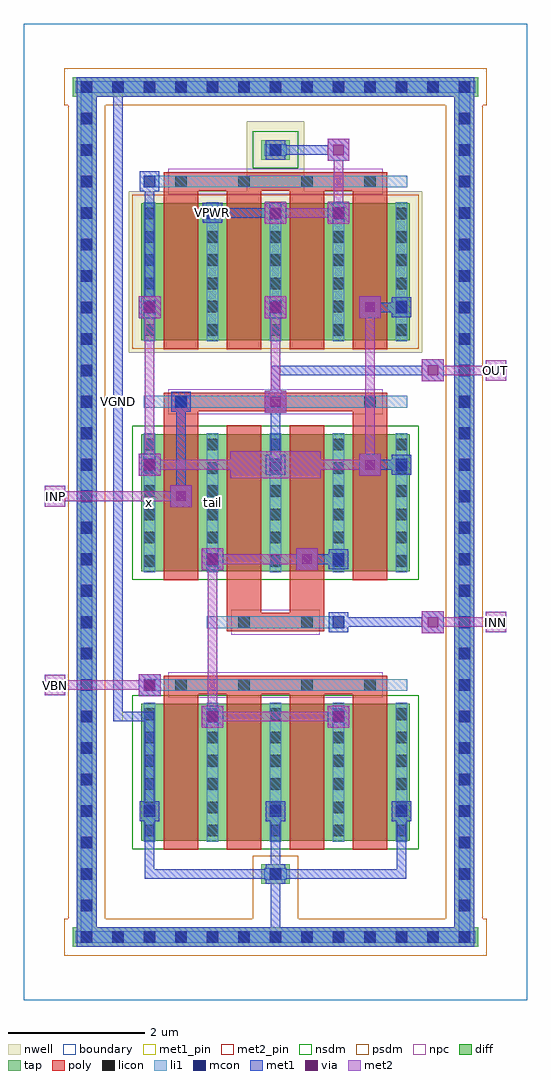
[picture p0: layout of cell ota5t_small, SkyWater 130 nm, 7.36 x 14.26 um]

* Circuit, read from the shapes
.subckt ota5t_small INN INP OUT VBN VGND VPWR tail x
XM1 tail VBN VGND VGND sky130_fd_pr__nfet_01v8 w=2 l=0.5 m=4
XM2 tail INP x VGND sky130_fd_pr__nfet_01v8 w=2 l=0.5 m=2
XM3 OUT INN tail VGND sky130_fd_pr__nfet_01v8 w=2 l=0.5 m=2
XM4 VPWR x x VPWR sky130_fd_pr__pfet_01v8 w=2 l=0.5 m=2
XM5 OUT x VPWR VPWR sky130_fd_pr__pfet_01v8 w=2 l=0.5 m=2
.ends

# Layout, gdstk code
import gdstk
lib = gdstk.Library(unit=1e-6, precision=1e-09)
def R(c, l, rs):  # rectangles x0, y0, x1, y1
    for r in rs: c.add(gdstk.rectangle(r[:2], r[2:], *l))
def A(c, l, x, y, w, h, nx, ny, dx, dy):  # array of equal rectangles
    R(c, l, [(x+i*dx, y+j*dy, x+i*dx+w, y+j*dy+h) for i in range(nx) for j in range(ny)])
nwell = (64, 20)
diff = (65, 20)
tap = (65, 44)
poly = (66, 20)
licon = (66, 44)
li1 = (67, 20)
mcon = (67, 44)
met1_pin = (68, 16)
met1 = (68, 20)
via = (68, 44)
met2_pin = (69, 16)
met2 = (69, 20)
nsdm = (93, 44)
psdm = (94, 20)
npc = (95, 20)
boundary = (235, 4)

ota5t_small = lib.new_cell('ota5t_small')
R(ota5t_small, nwell, [(1.535,9.46,5.825,11.82), (3.26,11.82,4.1,12.84)])
R(ota5t_small, diff, [(1.715,2.325,5.645,4.325), (1.715,6.265,5.645,8.265), (1.715,9.64,5.645,11.64)])
R(ota5t_small, tap, [(0.715,0.775,6.645,1.065), (0.775,0.775,1.065,13.485), (6.295,0.775,6.585,13.485), (3.475,1.695,3.885,1.985), (3.475,12.275,3.885,12.565), (0.715,13.195,6.645,13.485)])
A(ota5t_small, poly, 2.05, 2.195, 0.5, 2.405, 4, 1, 0.92, 0)
A(ota5t_small, poly, 2.05, 9.51, 0.5, 2.45, 4, 1, 0.92, 0)
R(ota5t_small, poly, [(2.05,4.465,5.31,4.735), (2.97,5.385,4.39,5.655), (2.97,5.52,3.47,8.395), (3.89,5.52,4.39,8.395), (2.05,6.135,2.55,8.74), (4.81,6.135,5.31,8.74), (2.05,8.605,5.31,8.875), (2.05,11.825,5.31,12.095)])
A(ota5t_small, licon, 0.835, 0.835, 0.17, 0.17, 13, 2, 0.46, 12.42)
A(ota5t_small, licon, 0.835, 1.755, 0.17, 0.17, 3, 2, 2.76, 10.58)
A(ota5t_small, licon, 0.835, 2.215, 0.17, 0.17, 1, 22, 0, 0.46)
A(ota5t_small, licon, 6.355, 2.215, 0.17, 0.17, 1, 22, 0, 0.46)
A(ota5t_small, licon, 1.755, 2.39, 0.17, 0.17, 5, 6, 0.92, 0.34)
A(ota5t_small, licon, 2.215, 4.515, 0.17, 0.17, 4, 2, 0.92, 7.36)
A(ota5t_small, licon, 1.755, 6.33, 0.17, 0.17, 5, 6, 0.92, 0.34)
A(ota5t_small, licon, 1.755, 9.705, 0.17, 0.17, 5, 6, 0.92, 0.34)
R(ota5t_small, licon, [(0.835,1.295,1.005,1.465), (6.355,1.295,6.525,1.465), (3.135,5.435,3.305,5.605), (4.055,5.435,4.225,5.605), (2.215,8.655,2.385,8.825), (4.975,8.655,5.145,8.825), (0.835,12.795,1.005,12.965), (6.355,12.795,6.525,12.965)])
A(ota5t_small, li1, 1.755, 2.31, 0.17, 2.03, 5, 2, 0.92, 3.94)
A(ota5t_small, li1, 1.755, 9.625, 0.17, 2.03, 5, 1, 0.92, 0)
R(ota5t_small, li1, [(0.755,0.835,6.605,1.005), (0.835,0.835,1.005,13.425), (6.355,0.835,6.525,13.425), (3.515,1.755,3.845,1.925), (1.755,4.515,5.605,4.685), (2.675,5.435,4.685,5.605), (1.755,8.655,5.605,8.825), (1.755,11.875,5.605,12.045), (3.515,12.335,3.845,12.505), (0.755,13.255,6.605,13.425)])
A(ota5t_small, mcon, 0.835, 0.835, 0.17, 0.17, 13, 2, 0.46, 12.42)
A(ota5t_small, mcon, 0.835, 1.755, 0.17, 0.17, 3, 2, 2.76, 10.58)
A(ota5t_small, mcon, 0.835, 2.215, 0.17, 0.17, 1, 4, 0, 0.46)
A(ota5t_small, mcon, 6.355, 2.215, 0.17, 0.17, 1, 4, 0, 0.46)
A(ota5t_small, mcon, 1.755, 2.675, 0.17, 0.17, 3, 2, 1.84, 5.06)
A(ota5t_small, mcon, 0.835, 4.055, 0.17, 0.17, 4, 2, 1.84, 2.3)
A(ota5t_small, mcon, 0.835, 4.515, 0.17, 0.17, 1, 4, 0, 0.46)
A(ota5t_small, mcon, 6.355, 4.515, 0.17, 0.17, 1, 4, 0, 0.46)
A(ota5t_small, mcon, 0.835, 6.815, 0.17, 0.17, 1, 10, 0, 0.46)
A(ota5t_small, mcon, 6.355, 6.815, 0.17, 0.17, 1, 10, 0, 0.46)
A(ota5t_small, mcon, 1.755, 10.035, 0.17, 0.17, 3, 1, 1.84, 0)
A(ota5t_small, mcon, 0.835, 11.415, 0.17, 0.17, 4, 1, 1.84, 0)
R(ota5t_small, mcon, [(0.835,1.295,1.005,1.465), (6.355,1.295,6.525,1.465), (1.755,4.515,1.925,4.685), (4.515,5.435,4.685,5.605), (2.215,8.655,2.385,8.825), (0.835,11.875,1.005,12.045), (1.755,11.875,1.925,12.045), (6.355,11.875,6.525,12.045), (0.835,12.795,1.005,12.965), (6.355,12.795,6.525,12.965)])
R(ota5t_small, met1_pin, [(1.31,4.07,1.45,13.41), (2.615,11.355,2.905,11.645)])
A(ota5t_small, met1, 1.77, 1.77, 0.14, 1.06, 3, 1, 1.84, 0)
A(ota5t_small, met1, 1.695, 2.615, 0.29, 0.29, 3, 2, 1.84, 5.06)
A(ota5t_small, met1, 3.52, 8.58, 0.32, 0.32, 1, 3, 0, 1.38)
A(ota5t_small, met1, 1.695, 9.975, 0.29, 0.29, 3, 1, 1.84, 0)
R(ota5t_small, met1, [(0.775,0.775,6.585,1.065), (0.775,0.775,1.065,13.485), (6.295,0.775,6.585,13.485), (3.61,0.85,3.75,0.99), (3.61,0.85,3.75,1.91), (3.535,1.695,3.825,1.985), (1.77,1.77,3.75,1.91), (3.61,1.77,3.75,1.91), (3.61,1.77,5.59,1.91), (1.77,2.69,1.91,4.21), (2.6,3.98,2.92,4.3), (4.44,3.98,4.76,4.3), (2.615,3.995,2.905,4.285), (4.455,3.995,4.745,4.285), (1.31,4.07,1.91,4.21), (1.31,4.07,1.45,13.41), (1.68,4.44,2,4.76), (1.695,4.455,1.985,4.745), (5.82,5.36,6.14,5.68), (4.455,5.375,4.745,5.665), (4.53,5.45,6.05,5.59), (2.6,6.28,2.92,6.6), (3.98,6.28,4.3,6.6), (2.615,6.295,2.905,6.585), (4.455,6.295,4.745,6.585), (4.07,6.37,4.67,6.51), (2.14,7.2,2.46,7.52), (2.23,7.29,2.37,8.81), (1.68,7.66,2,7.98), (4.9,7.66,5.22,7.98), (3.61,7.75,3.75,8.81), (4.99,7.75,5.59,7.89), (2.155,8.595,2.445,8.885), (3.61,8.67,3.75,9.27), (5.82,9.04,6.14,9.36), (3.61,9.13,6.05,9.27), (1.68,9.96,2,10.28), (4.9,9.96,5.22,10.28), (1.77,10.05,1.91,12.03), (4.99,10.05,5.59,10.19), (4.44,11.34,4.76,11.66), (2.615,11.355,2.905,11.645), (4.455,11.355,4.745,11.645), (2.69,11.43,3.75,11.57), (1.695,11.815,1.985,12.105), (4.44,12.26,4.76,12.58), (3.535,12.275,3.825,12.565), (3.61,12.35,3.75,12.49), (3.61,12.35,4.67,12.49), (0.775,13.195,6.585,13.485), (1.31,13.27,1.45,13.41)])
A(ota5t_small, via, 3.605, 8.665, 0.15, 0.15, 1, 3, 0, 1.38)
R(ota5t_small, via, [(2.685,4.065,2.835,4.215), (4.525,4.065,4.675,4.215), (1.765,4.525,1.915,4.675), (5.905,5.445,6.055,5.595), (2.685,6.365,2.835,6.515), (4.065,6.365,4.215,6.515), (2.225,7.285,2.375,7.435), (1.765,7.745,1.915,7.895), (4.985,7.745,5.135,7.895), (5.905,9.125,6.055,9.275), (1.765,10.045,1.915,10.195), (4.985,10.045,5.135,10.195), (4.525,11.425,4.675,11.575), (4.525,12.345,4.675,12.495)])
R(ota5t_small, met2_pin, [(0.31,4.45,0.61,4.75), (6.75,5.37,7.05,5.67), (0.31,7.21,0.61,7.51), (6.75,9.05,7.05,9.35)])
A(ota5t_small, met2, 3.52, 8.58, 0.32, 0.32, 1, 3, 0, 1.38)
R(ota5t_small, met2, [(2.6,3.98,2.92,4.3), (4.44,3.98,4.76,4.3), (2.69,4.07,2.83,6.51), (2.69,4.07,4.67,4.21), (1.68,4.44,2,4.76), (0.31,4.45,0.61,4.75), (0.39,4.53,1.91,4.67), (0.39,4.53,0.53,4.67), (5.82,5.36,6.14,5.68), (6.75,5.37,7.05,5.67), (5.91,5.45,6.97,5.59), (6.83,5.45,6.97,5.59), (2.6,6.28,2.92,6.6), (3.98,6.28,4.3,6.6), (2.69,6.37,4.21,6.51), (2.14,7.2,2.46,7.52), (0.31,7.21,0.61,7.51), (0.39,7.29,2.37,7.43), (0.39,7.29,0.53,7.43), (3.02,7.62,4.34,8.02), (1.68,7.66,2,7.98), (4.9,7.66,5.22,7.98), (1.77,7.75,1.91,10.19), (1.77,7.75,3.29,7.89), (4.07,7.75,5.13,7.89), (4.99,7.75,5.13,10.19), (3.61,8.67,3.75,10.19), (5.82,9.04,6.14,9.36), (6.75,9.05,7.05,9.35), (5.91,9.13,6.97,9.27), (6.83,9.13,6.97,9.27), (1.68,9.96,2,10.28), (4.9,9.96,5.22,10.28), (4.44,11.34,4.76,11.66), (3.61,11.43,4.67,11.57), (4.53,11.43,4.67,12.49), (4.44,12.26,4.76,12.58)])
R(ota5t_small, nsdm, [(1.59,2.2,5.77,4.45), (1.59,6.14,5.77,8.39), (3.35,12.15,4.01,12.69)])
R(ota5t_small, psdm, [(0.59,0.65,6.77,1.19), (0.65,1.19,1.19,13.07), (3.35,1.19,4.01,2.11), (6.17,1.19,6.71,13.07), (1.59,9.515,5.77,11.765), (0.59,13.07,6.77,13.61)])
R(ota5t_small, npc, [(2.115,4.415,5.245,4.785), (3.035,5.335,4.325,5.705), (2.115,8.555,5.245,8.925), (2.115,11.775,5.245,12.145)])
R(ota5t_small, boundary, [(0,0,7.36,14.26)])
ota5t_small.add(gdstk.Label('x', (1.84,7.265), layer=67, texttype=5))
ota5t_small.add(gdstk.Label('tail', (2.76,7.265), layer=67, texttype=5))
ota5t_small.add(gdstk.Label('VPWR', (2.76,11.5), layer=68, texttype=5))
ota5t_small.add(gdstk.Label('VGND', (1.38,8.74), layer=68, texttype=5))
ota5t_small.add(gdstk.Label('INP', (0.46,7.36), layer=69, texttype=5))
ota5t_small.add(gdstk.Label('INN', (6.9,5.52), layer=69, texttype=5))
ota5t_small.add(gdstk.Label('VBN', (0.46,4.6), layer=69, texttype=5))
ota5t_small.add(gdstk.Label('OUT', (6.9,9.2), layer=69, texttype=5))
ota5t_small.add(gdstk.Label('VPWR', (2.76,11.5), layer=68, texttype=16))
ota5t_small.add(gdstk.Label('VGND', (1.38,8.74), layer=68, texttype=16))
ota5t_small.add(gdstk.Label('INP', (0.46,7.36), layer=69, texttype=16))
ota5t_small.add(gdstk.Label('INN', (6.9,5.52), layer=69, texttype=16))
ota5t_small.add(gdstk.Label('VBN', (0.46,4.6), layer=69, texttype=16))
ota5t_small.add(gdstk.Label('OUT', (6.9,9.2), layer=69, texttype=16))

lib.write_gds('ota5t_small.gds')
